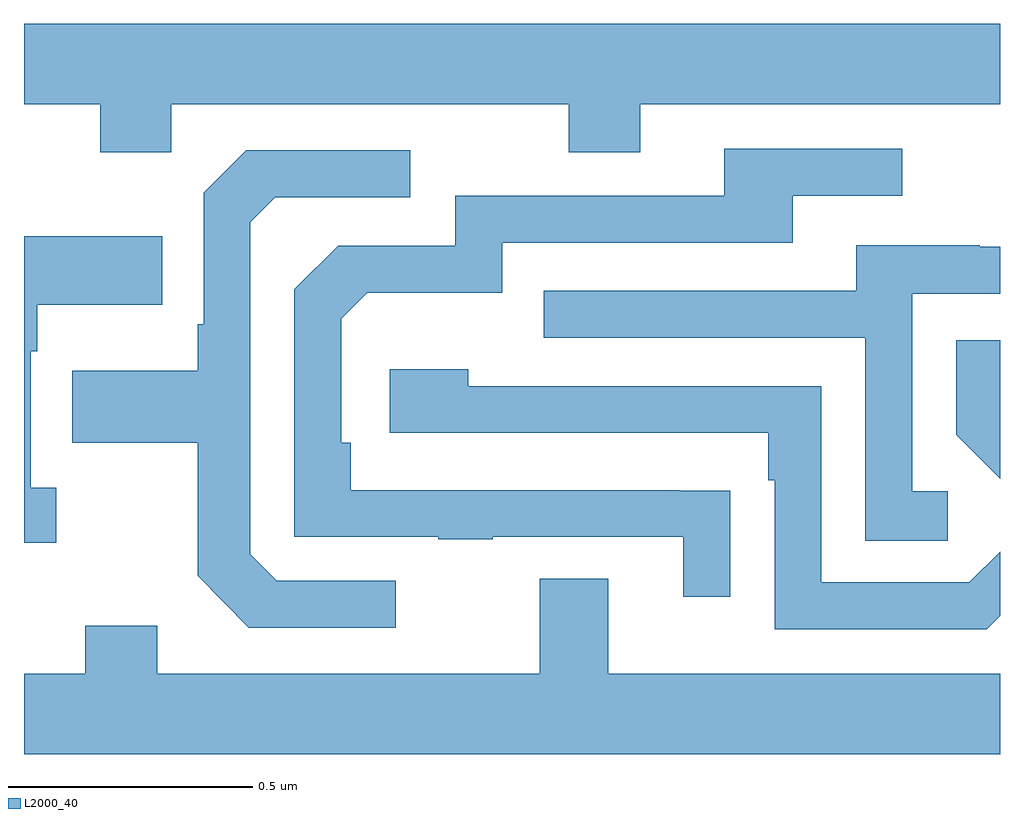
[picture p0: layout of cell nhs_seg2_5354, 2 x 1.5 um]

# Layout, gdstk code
import gdstk
lib = gdstk.Library(unit=1e-6, precision=1e-09)
def P(c, l, *ps):  # polygons
    for p in ps: c.add(gdstk.Polygon(p, *l))
L2000_40 = (2000, 40)

nhs_seg2_5354 = lib.new_cell('nhs_seg2_5354')
P(nhs_seg2_5354, L2000_40, [(178.302,606.344),(179.116,606.344),(179.116,606.245),(179.263,606.245),(179.263,606.344),(180,606.344),(180,606.508),(178,606.508),(178,606.344),(178.156,606.344),(178.156,606.245),(178.302,606.245)],
  [(179.447,605.552),(179.345,605.552),(179.345,605.553),(178.67,605.553),(178.67,605.65),(178.65,605.65),(178.65,605.904),(178.703,605.957),(178.98,605.957),(178.98,606.06),(179.575,606.06),(179.575,606.156),(179.8,606.156),(179.8,606.252),(179.435,606.252),(179.435,606.156),(178.884,606.156),(178.884,606.054),(178.644,606.054),(178.554,605.964),(178.554,605.457),(178.849,605.457),(178.849,605.452),(178.961,605.452),(178.961,605.457),(179.351,605.457),(179.351,605.334),(179.447,605.334)],
  [(178.762,605.367),(178.518,605.367),(178.464,605.421),(178.464,606.102),(178.515,606.153),(178.792,606.153),(178.792,606.249),(178.455,606.249),(178.368,606.162),(178.368,605.893),(178.356,605.893),(178.356,605.797),(178.099,605.797),(178.099,605.65),(178.356,605.65),(178.356,605.377),(178.461,605.271),(178.762,605.271)],
  [(178.066,605.558),(178.014,605.558),(178.014,605.837),(178.027,605.837),(178.027,605.933),(178.283,605.933),(178.283,606.073),(178,606.073),(178,605.445),(178.066,605.445)],
  [(179.893,605.55),(179.82,605.55),(179.82,605.955),(180,605.955),(180,606.051),(179.959,606.051),(179.959,606.055),(179.705,606.055),(179.705,605.961),(179.065,605.961),(179.065,605.865),(179.724,605.865),(179.724,605.449),(179.893,605.449)],
  [(180,605.86),(179.91,605.86),(179.91,605.666),(180,605.576)],
  [(180,605.295),(180,605.427),(179.937,605.364),(179.634,605.364),(179.634,605.766),(178.91,605.766),(178.91,605.8),(178.749,605.8),(178.749,605.67),(179.525,605.67),(179.525,605.573),(179.538,605.573),(179.538,605.268),(179.973,605.268)],
  [(180,605.176),(179.197,605.176),(179.197,605.371),(179.057,605.371),(179.057,605.176),(178.273,605.176),(178.273,605.275),(178.126,605.275),(178.126,605.176),(178,605.176),(178,605.012),(180,605.012)])

lib.write_gds('nhs_seg2_5354.gds')
